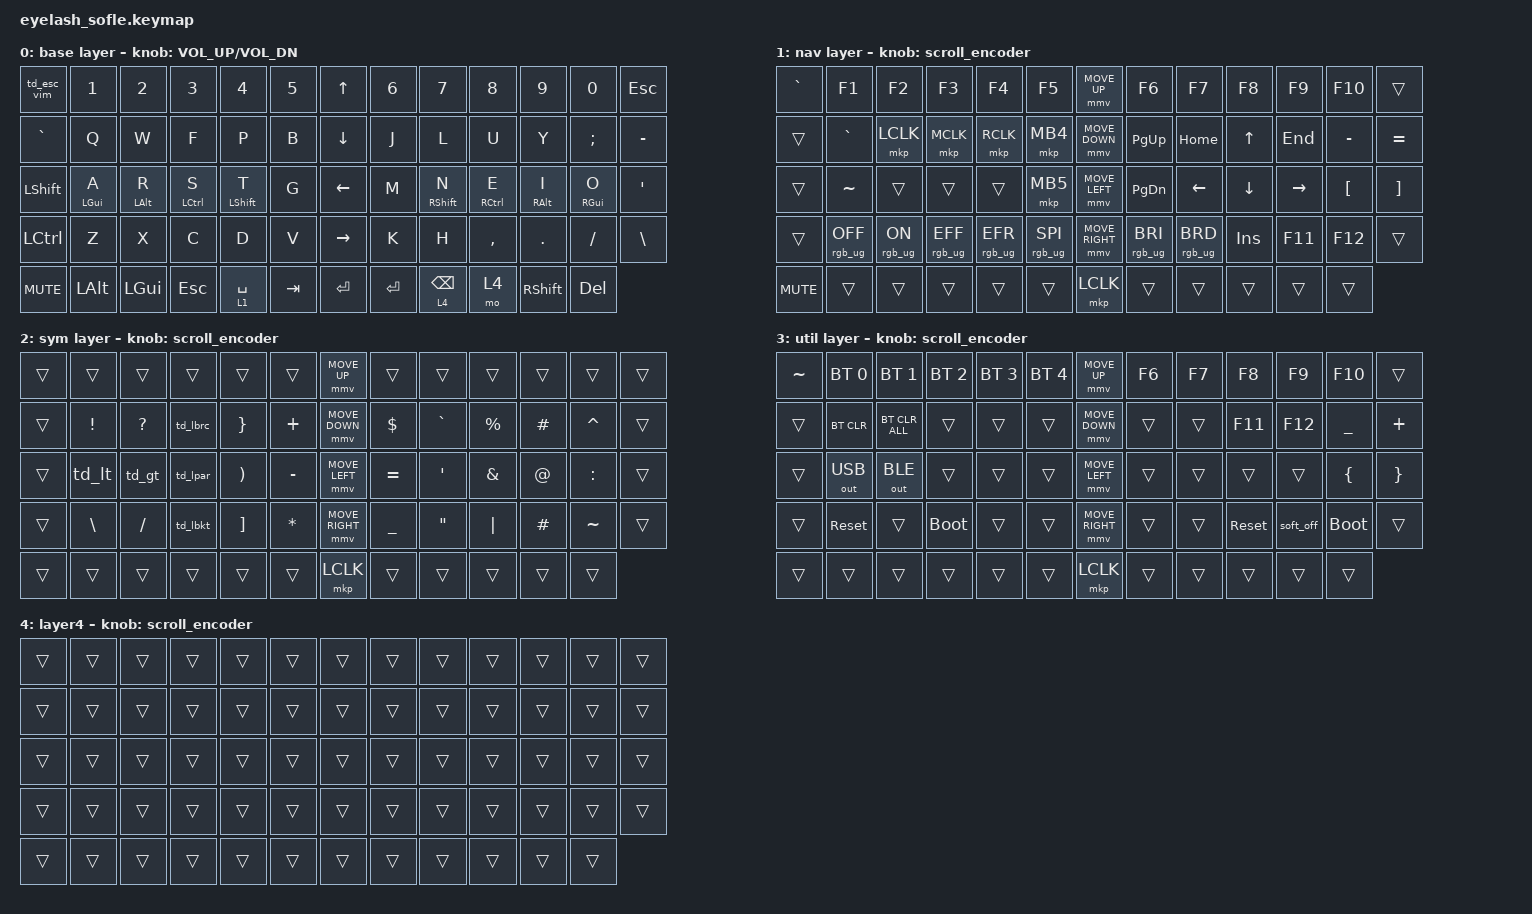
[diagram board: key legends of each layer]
#define ZMK_POINTING_DEFAULT_MOVE_VAL 1200  // 600
#define ZMK_POINTING_DEFAULT_SCRL_VAL 25    // 10

#include <input/processors.dtsi>
#include <zephyr/dt-bindings/input/input-event-codes.h>
#include <behaviors.dtsi>
#include <dt-bindings/zmk/bt.h>
#include <dt-bindings/zmk/keys.h>
#include <dt-bindings/zmk/outputs.h>
#include <dt-bindings/zmk/pointing.h>
#include <dt-bindings/zmk/rgb.h>

&mmv_input_listener { input-processors = <&zip_xy_scaler 2 1>; };

&msc_input_listener { input-processors = <&zip_scroll_scaler 2 1>; };

&msc {
    acceleration-exponent = <1>;      // 0
    time-to-max-speed-ms = <100>;     // 300
    delay-ms = <0>;                   // 0
};

&mmv {
    time-to-max-speed-ms = <500>;
    acceleration-exponent = <1>;
    trigger-period-ms = <16>;
};

&soft_off { hold-time-ms = <2000>; };

/ {
    scroll_encoder: scroll_encoder {
        compatible = "zmk,behavior-sensor-rotate";
        #sensor-binding-cells = <0>;
        bindings = <&msc SCRL_DOWN>, <&msc SCRL_UP>;
        tap-ms = <100>;
    };

    behaviors {
        // Custom home row mod behavior
        hrm: home_row_mod {
            compatible = "zmk,behavior-hold-tap";
            #binding-cells = <2>;
            flavor = "balanced";
            tapping-term-ms = <280>;
            quick-tap-ms = <175>;
            require-prior-idle-ms = <150>;
            bindings = <&kp>, <&kp>;
        };

        td_gt: tap_dance_gt {
            compatible = "zmk,behavior-tap-dance";
            #binding-cells = <0>;
            tapping-term-ms = <200>;
            bindings = <&kp GT>, <&arrow_macro>;
        };

        td_lpar: tap_dance_lpar {
            compatible = "zmk,behavior-tap-dance";
            #binding-cells = <0>;
            tapping-term-ms = <200>;
            bindings = <&kp LPAR>, <&parens_inside>;
        };

        td_lbrc: tap_dance_lbrc {
            compatible = "zmk,behavior-tap-dance";
            #binding-cells = <0>;
            tapping-term-ms = <200>;
            bindings = <&kp LBRC>, <&braces_inside>;
        };

        td_lbkt: tap_dance_lbkt {
            compatible = "zmk,behavior-tap-dance";
            #binding-cells = <0>;
            tapping-term-ms = <200>;
            bindings = <&kp LBKT>, <&brackets_inside>;
        };

        td_lt: tap_dance_lt {
            compatible = "zmk,behavior-tap-dance";
            #binding-cells = <0>;
            tapping-term-ms = <200>;
            bindings = <&kp LT>, <&angles_inside>;
        };

        // This checks if Shift is being held when triggered
        mm_vim_quit: mod_morph_vim_quit {
            compatible = "zmk,behavior-mod-morph";
            #binding-cells = <0>;
            bindings = <&vim_save_quit>, <&vim_just_quit>;
            mods = <(MOD_LSFT|MOD_RSFT)>; // Triggers if Left or Right Shift is held
        };

        // The Tap Dance that sits on your actual key
        td_esc_vim: tap_dance_esc_vim {
            compatible = "zmk,behavior-tap-dance";
            #binding-cells = <0>;
            tapping-term-ms = <200>;
            bindings = <&kp ESC>, <&mm_vim_quit>;
        };
    };

    combos {
        compatible = "zmk,combos";

        softoff {
            bindings = <&soft_off>;
            key-positions = <14 28 40>;
        };
    };

    macros {
        SHIFT_MCLK: SHIFT_MCLK {
            compatible = "zmk,behavior-macro";
            #binding-cells = <0>;
            bindings =
                <&macro_press>,
                <&kp LEFT_SHIFT>,
                <&macro_press>,
                <&mkp MB3>,
                <&macro_pause_for_release>,
                <&macro_release>,
                <&kp LEFT_SHIFT &mkp MB3>;
            label = "SHIFT_MCLK";
        };

        arrow_macro: arrow_macro {
            compatible = "zmk,behavior-macro";
            #binding-cells = <0>;
            wait-ms = <10>;
            tap-ms = <10>;
            bindings = <&kp EQUAL>, <&kp GT>;
        };

        parens_inside: parens_inside {
            compatible = "zmk,behavior-macro";
            #binding-cells = <0>;
            wait-ms = <10>;
            tap-ms = <10>;
            bindings = <&kp LPAR>, <&kp RPAR>, <&kp LEFT>;
        };

        braces_inside: braces_inside {
            compatible = "zmk,behavior-macro";
            #binding-cells = <0>;
            wait-ms = <10>;
            tap-ms = <10>;
            bindings = <&kp LBRC>, <&kp RBRC>, <&kp LEFT>;
        };

        brackets_inside: brackets_inside {
            compatible = "zmk,behavior-macro";
            #binding-cells = <0>;
            wait-ms = <10>;
            tap-ms = <10>;
            bindings = <&kp LBKT>, <&kp RBKT>, <&kp LEFT>;
        };

        angles_inside: angles_inside {
            compatible = "zmk,behavior-macro";
            #binding-cells = <0>;
            wait-ms = <10>;
            tap-ms = <10>;
            bindings = <&kp LT>, <&kp GT>, <&kp LEFT>;
        };

        // 1. Double tap ESC normally: Save and Quit (:wq)
        vim_save_quit: vim_save_quit {
            compatible = "zmk,behavior-macro";
            #binding-cells = <0>;
            wait-ms = <20>;
            tap-ms = <20>;
            bindings = 
                <&kp ESC>, 
                <&kp COLON>, 
                <&kp W>, 
                <&kp Q>, 
                <&kp RET>;
        };

        // 2. Hold Shift + Double tap ESC: Just Quit (:q)
        vim_just_quit: vim_just_quit {
            compatible = "zmk,behavior-macro";
            #binding-cells = <0>;
            wait-ms = <20>;
            tap-ms = <20>;
            bindings = 
                <&kp ESC>, 
                <&kp COLON>, 
                <&kp Q>, 
                <&kp RET>;
        };
    };

    keymap {
        compatible = "zmk,keymap";

        layer0 {
            bindings = <
&td_esc_vim     &kp N1        &kp N2        &kp N3        &kp N4         &kp N5     &kp UP_ARROW     &kp N6      &kp N7         &kp N8        &kp N9        &kp N0         &kp ESCAPE
&kp GRAVE       &kp Q         &kp W         &kp F         &kp P          &kp B      &kp DOWN_ARROW   &kp J       &kp L          &kp U         &kp Y         &kp SEMICOLON  &kp MINUS
&kp LEFT_SHIFT  &hrm LGUI A   &hrm LALT R   &hrm LCTRL S  &hrm LSHIFT T  &kp G      &kp LEFT_ARROW   &kp M       &hrm RSHIFT N  &hrm RCTRL E  &hrm RALT I   &hrm RGUI O    &kp APOS
&kp LCTRL       &kp Z         &kp X         &kp C         &kp D          &kp V      &kp RIGHT_ARROW  &kp K       &kp H          &kp COMMA     &kp DOT       &kp FSLH       &kp BACKSLASH
&kp C_MUTE      &kp LEFT_ALT  &kp LEFT_GUI  &kp ESC       &lt 1 SPACE    &kp TAB    &kp ENTER        &kp RETURN  &lt 4 BSPC     &mo 4         &kp RSHIFT    &kp DELETE
            >;
            sensor-bindings = <&inc_dec_kp C_VOLUME_UP C_VOL_DN>;
            display-name = "base layer";
        };

        layer_1_nav {
            bindings = <
&kp GRAVE   &kp F1           &kp F2          &kp F3          &kp F4          &kp F5             &mmv MOVE_UP     &kp F6       &kp F7    &kp F8    &kp F9     &kp F10           &trans
&trans      &kp GRAVE        &mkp LCLK       &mkp MCLK       &mkp RCLK       &mkp MB4           &mmv MOVE_DOWN   &kp PG_UP    &kp HOME  &kp UP    &kp END    &kp MINUS         &kp EQUAL
&trans      &kp TILDE        &trans          &trans          &trans          &mkp MB5           &mmv MOVE_LEFT   &kp PG_DN    &kp LEFT  &kp DOWN  &kp RIGHT  &kp LEFT_BRACKET  &kp RIGHT_BRACKET
&trans      &rgb_ug RGB_OFF  &rgb_ug RGB_ON  &rgb_ug RGB_EFF  &rgb_ug RGB_EFR  &rgb_ug RGB_SPI  &mmv MOVE_RIGHT  &rgb_ug RGB_BRI &rgb_ug RGB_BRD &kp INSERT &kp F11 &kp F12  &trans
&kp C_MUTE  &trans           &trans          &trans          &trans          &trans             &mkp LCLK        &trans       &trans    &trans    &trans     &trans
            >;
            display-name = "nav layer";
            sensor-bindings = <&scroll_encoder>;
        };

        layer_2_sym {
            bindings = <
&trans  &trans    &trans    &trans    &trans    &trans       &mmv MOVE_UP     &trans     &trans    &trans    &trans    &trans    &trans
&trans  &kp EXCL  &kp QMARK &td_lbrc  &kp RBRC  &kp PLUS     &mmv MOVE_DOWN   &kp DLLR   &kp GRAVE &kp PRCNT &kp POUND &kp CARET &trans
&trans  &td_lt    &td_gt    &td_lpar  &kp RPAR  &kp MINUS    &mmv MOVE_LEFT   &kp EQUAL  &kp APOS  &kp AMPS  &kp AT    &kp COLON &trans
&trans  &kp BSLH  &kp FSLH  &td_lbkt  &kp RBKT  &kp STAR     &mmv MOVE_RIGHT  &kp UNDER  &kp DQT   &kp PIPE  &kp HASH  &kp TILDE &trans
&trans  &trans    &trans    &trans    &trans    &trans       &mkp LCLK        &trans     &trans    &trans    &trans    &trans
            >;
            display-name = "sym layer";
            sensor-bindings = <&scroll_encoder>;
        };

        layer_3_util {
            bindings = <
&kp TILDE  &bt BT_SEL 0  &bt BT_SEL 1    &bt BT_SEL 2  &bt BT_SEL 3  &bt BT_SEL 4    &mmv MOVE_UP     &kp F6     &kp F7  &kp F8      &kp F9      &kp F10      &trans
&trans     &bt BT_CLR    &bt BT_CLR_ALL  &trans        &trans        &trans          &mmv MOVE_DOWN   &trans     &trans  &kp F11     &kp F12     &kp UNDER    &kp PLUS
&trans     &out OUT_USB  &out OUT_BLE    &trans        &trans        &trans          &mmv MOVE_LEFT   &trans     &trans  &trans      &trans      &kp LBRC     &kp RBRC
&trans     &sys_reset    &trans          &bootloader   &trans        &trans          &mmv MOVE_RIGHT  &trans     &trans  &sys_reset  &soft_off   &bootloader  &trans
&trans     &trans        &trans          &trans        &trans        &trans          &mkp LCLK        &trans     &trans  &trans      &trans      &trans
            >;
            display-name = "util layer";
            sensor-bindings = <&scroll_encoder>;
        };

        layer_4 {
            bindings = <
&trans  &trans  &trans  &trans  &trans  &trans    &trans  &trans  &trans  &trans  &trans  &trans  &trans
&trans  &trans  &trans  &trans  &trans  &trans    &trans  &trans  &trans  &trans  &trans  &trans  &trans
&trans  &trans  &trans  &trans  &trans  &trans    &trans  &trans  &trans  &trans  &trans  &trans  &trans
&trans  &trans  &trans  &trans  &trans  &trans    &trans  &trans  &trans  &trans  &trans  &trans  &trans
&trans  &trans  &trans  &trans  &trans  &trans    &trans  &trans  &trans  &trans  &trans  &trans
            >;
            display-name = "layer4";
            sensor-bindings = <&scroll_encoder>;
        };
    };
};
